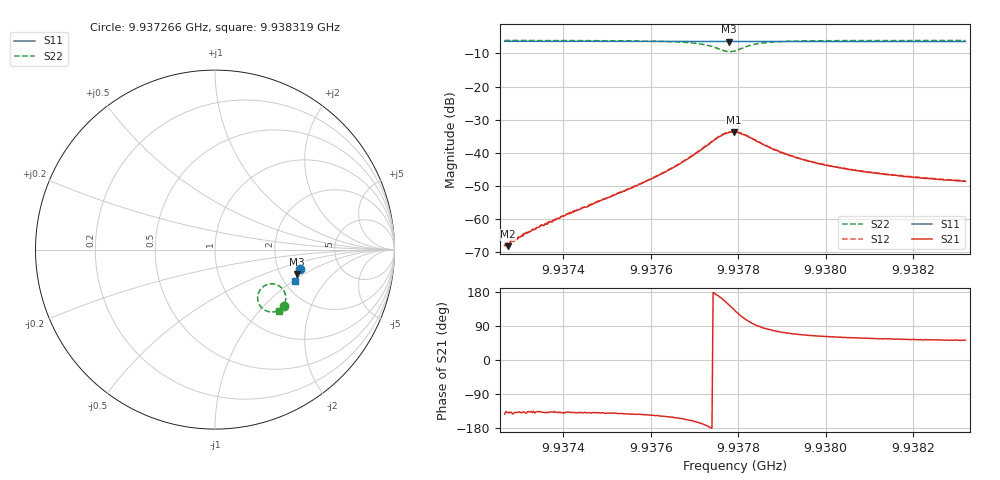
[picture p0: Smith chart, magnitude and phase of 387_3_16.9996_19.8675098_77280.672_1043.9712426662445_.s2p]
#  HZ  S  RI  R  50.00
! Rohde & Schwarz Vector Network Analyzer
! Rohde-Schwarz,ZNB20-2Port,1311601062101988,3.16
! Created: UTC 3/20/2024, 11:09:24 PM
! freq[Hz]  re:S11  im:S11  re:S21  im:S21  re:S12  im:S12  re:S22  im:S22
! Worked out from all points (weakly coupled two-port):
!   401 points, 9.937266 GHz to 9.938319 GHz, reference 50 ohm
!   highest |S21| = -33.75 dB at 9.93779 GHz (marker M1); lowest = -68.4 dB at 9.937274 GHz (marker M2)
!   lowest |S11| = -6.4 dB at 9.937779 GHz (marker M3), VSWR 2.84, Z = 123 - j44.4 ohm
!   |S11| at or under -10 dB: nowhere
!   |S22| runs from -9.5 to -6.1 dB; largest |S21 - S12| = 0.00089
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9.9372659e9  0.4718 -0.1062  -0.000313 -0.000235  -0.000297 -0.000267  0.3863 -0.3144
9.9372738e9  0.4716 -0.1067  -0.000285 -0.000255  -0.00035 -0.000267  0.3856 -0.315
9.9372764e9  0.4714 -0.1068  -0.000319 -0.000269  -0.00032 -0.000283  0.3856 -0.3153
9.9373159e9  0.4708 -0.1094  -0.000479 -0.000396  -0.000437 -0.000416  0.3825 -0.3178
9.9374107e9  0.4689 -0.1159  -0.000858 -0.00081  -0.000905 -0.000791  0.3744 -0.3253
9.9374423e9  0.4682 -0.1179  -0.00109 -0.000933  -0.00109 -0.000946  0.371 -0.3278
9.9375582e9  0.4657 -0.1257  -0.00234 -0.00178  -0.00244 -0.00182  0.3542 -0.3383
9.9376187e9  0.4641 -0.1298  -0.00386 -0.00245  -0.00395 -0.00244  0.3389 -0.3442
9.937674e9  0.4625 -0.1335  -0.00659 -0.00304  -0.00676 -0.00297  0.3136 -0.3477
9.9377214e9  0.4608 -0.1366  -0.0117 -0.00194  -0.0119 -0.00184  0.2729 -0.3346
9.9377583e9  0.4591 -0.1384  -0.0171 0.00424  -0.0171 0.0048  0.2378 -0.278
9.9377794e9  0.4586 -0.1387  -0.0165 0.0117  -0.0164 0.0124  0.2531 -0.2218
9.9377899e9  0.4585 -0.1391  -0.0141 0.0149  -0.0137 0.0156  0.2772 -0.2007
9.9377925e9  0.4586 -0.139  -0.0133 0.0155  -0.013 0.0163  0.2844 -0.1971
9.9378163e9  0.4588 -0.1403  -0.00547 0.0175  -0.00513 0.0178  0.3452 -0.1961
9.9378479e9  0.4589 -0.1425  0.000194 0.0143  0.000697 0.0144  0.3846 -0.2311
9.9379005e9  0.458 -0.1464  0.00294 0.00949  0.00319 0.00951  0.3945 -0.2743
9.9379295e9  0.4574 -0.1484  0.00308 0.00788  0.0033 0.00793  0.3927 -0.288
9.937969e9  0.4564 -0.1511  0.00312 0.00646  0.00326 0.0065  0.3888 -0.3007
9.938048e9  0.4543 -0.1564  0.00287 0.00486  0.00299 0.00482  0.3806 -0.317
9.9381454e9  0.4516 -0.1627  0.00259 0.0038  0.00271 0.00378  0.3719 -0.3291
9.9383192e9  0.4469 -0.174  0.00225 0.00288  0.00234 0.0029  0.3592 -0.3434
